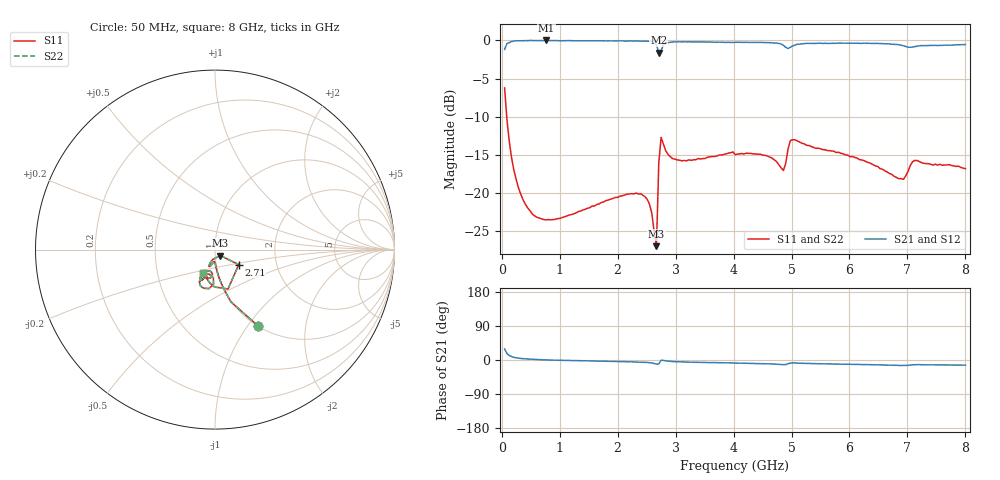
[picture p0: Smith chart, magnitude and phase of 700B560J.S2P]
!  American Technical Ceramics  Date:  3/13/98
!  One Norden Lane
!  Huntington Station,  NY.  11746-2102
!  Tel:  (516) 547-5700  Fax:  (516) 547-5748
!  Part Number  700B560J
!  Description: Porcelain, High Q, Low ESR
!  Application: Bypass, Coupling, Timing, Feedback
!  Tuning, Impedance Match, Blocking
# GHZ S DB R 50
! Freq  |S11|  S11 Ph  |S21|  S21 Ph  |S12|  S12 Ph  |S22|  S22 Ph
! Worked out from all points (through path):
!   201 points, 50 MHz to 8 GHz, reference 50 ohm
!   highest |S21| = -0.01 dB at 770 MHz (marker M1); lowest = -1.6 dB at 2.71 GHz (marker M2)
!   group delay of S21, straight-line fit = 6.34 ps
!   lowest |S11| = -27.0 dB at 2.67 GHz (marker M3), VSWR 1.09, Z = 53 - j3.51 ohm
!   |S11| at or under -10 dB: 86.51 MHz to end of sweep
!   |S22| runs from -27.0 to -6.2 dB; largest |S21 - S12| = 0
!   S11 on the Smith chart (normalised r, x): 50 MHz: 1.00, -1.12; 2.71 GHz: 1.28, -0.22; 8 GHz: 0.85, -0.22
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0.05  -6.23 -60.6  -1.19 29.3  -1.19 29.3  -6.23 -60.6
0.13  -13.23 -77.9  -0.30 11.9  -0.30 11.9  -13.23 -77.9
0.29  -19.35 -86.0  -0.06 5.0  -0.06 5.0  -19.35 -86.0
0.53  -22.80 -89.9  -0.02 1.7  -0.02 1.7  -22.80 -89.9
0.77  -23.54 -93.3  -0.01 0.1  -0.01 0.1  -23.54 -93.3
1.4  -22.25 -99.9  -0.05 -2.0  -0.05 -2.0  -22.25 -99.9
2.4  -20.12 -109.1  -0.08 -5.7  -0.08 -5.7  -20.12 -109.1
2.55  -21.48 -110.4  -0.12 -7.2  -0.12 -7.2  -21.48 -110.4
2.67  -26.99 -47.6  -0.54 -11.0  -0.54 -11.0  -26.99 -47.6
2.71  -16.10 -32.4  -1.61 -10.3  -1.61 -10.3  -16.10 -32.4
2.75  -12.72 -71.7  -1.34 -0.6  -1.34 -0.6  -12.72 -71.7
2.83  -14.47 -98.3  -0.35 -2.1  -0.35 -2.1  -14.47 -98.3
3.03  -15.67 -107.1  -0.20 -4.5  -0.20 -4.5  -15.67 -107.1
4.03  -14.99 -114.9  -0.25 -8.0  -0.25 -8.0  -14.99 -114.9
4.58  -15.16 -117.4  -0.30 -9.9  -0.30 -9.9  -15.16 -117.4
4.86  -17.07 -103.8  -0.65 -12.3  -0.65 -12.3  -17.07 -103.8
4.98  -13.15 -99.0  -0.91 -8.1  -0.91 -8.1  -13.15 -99.0
5.38  -14.03 -115.9  -0.38 -9.7  -0.38 -9.7  -14.03 -115.9
6.69  -17.45 -114.3  -0.47 -13.6  -0.47 -13.6  -17.45 -114.3
6.93  -18.22 -102.4  -0.71 -14.4  -0.71 -14.4  -18.22 -102.4
7.13  -15.74 -102.4  -0.82 -12.4  -0.82 -12.4  -15.74 -102.4
8  -16.82 -117.7  -0.55 -13.7  -0.55 -13.7  -16.82 -117.7
